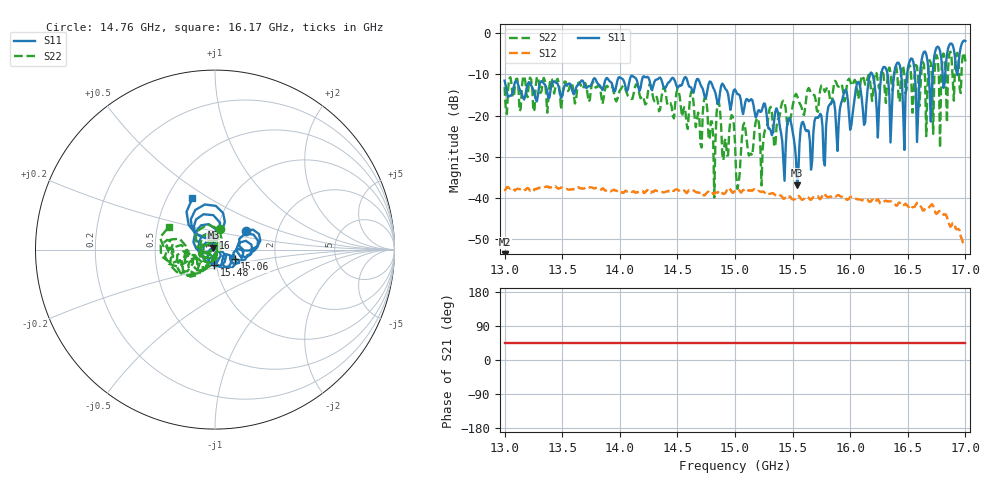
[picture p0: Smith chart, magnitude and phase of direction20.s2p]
!Keysight Technologies,P9374A,MY57211810,A.19.30.04
!Date: Friday, May 02, 2025 09:02:18
!Correction: S11(Off)
!S21(Off)
!S12(Off)
!S22(Off)
!S2P File: Measurements: S11, S21, S12, S22:
# Hz S  dB  R 50
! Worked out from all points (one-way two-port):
!   401 points, 13 GHz to 17 GHz, reference 50 ohm
!   highest |S21| = - dB at 13 GHz (marker M1); lowest = - dB at 13 GHz (marker M2)
!   lowest |S11| = -37.0 dB at 15.54 GHz (marker M3), VSWR 1.03, Z = 49.1 + j1.07 ohm
!   |S11| at or under -10 dB: start of sweep to 16.17 GHz; 16.19285 GHz to 16.27013 GHz (77.28 MHz wide, 0.476 % of centre); 16.32378 GHz to 16.3803 GHz (56.51 MHz wide, 0.346 % of centre) (the widest 3 of 8)
!   |S22| runs from -40.0 to -4.4 dB; largest |S21 - S12| = 0.014
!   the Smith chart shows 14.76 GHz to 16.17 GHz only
!   S11 on the Smith chart (normalised r, x): 14.76 GHz: 1.38, +0.30; 15.06 GHz: 1.24, -0.13; 15.48 GHz: 0.97, -0.17; 16 GHz: 0.97, +0.13; 16.17 GHz: 0.67, +0.42
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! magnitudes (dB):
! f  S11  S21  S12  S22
! 13 GHz  -11.5  -  -38.4  -13.1
! 13.67 GHz  -11.4  -  -37.7  -13.3
! 14.34 GHz  -10.9  -  -38.5  -19.0
! 14.76 GHz  -13.9  -  -38.7  -18.7
! 15 GHz  -13.6  -  -38.3  -26.5
! 15.03 GHz  -14.8  -  -38.1  -36.7
! 15.06 GHz  -18.3  -  -38.5  -25.4
! 15.36 GHz  -18.2  -  -39.7  -22.8
! 15.42 GHz  -31.0  -  -40.3  -16.4
! 15.48 GHz  -21.1  -  -39.7  -21.1
! 15.54 GHz  -37.0  -  -39.8  -15.3
! 15.59 GHz  -21.5  -  -40.5  -19.6
! 15.67 GHz  -31.1  -  -40.1  -14.9
! 16 GHz  -23.5  -  -39.8  -11.5
! 16.17 GHz  -10.1  -  -41.0  -10.8
! 16.34 GHz  -15.2  -  -40.9  -8.3
! 16.41 GHz  -7.1  -  -41.8  -10.2
! 16.58 GHz  -26.4  -  -41.3  -8.0
! 16.64 GHz  -4.5  -  -43.1  -7.5
! 16.7 GHz  -21.5  -  -41.9  -7.2
! 16.75 GHz  -3.4  -  -44.0  -5.3
! 17 GHz  -1.9  -  -51.8  -6.8
